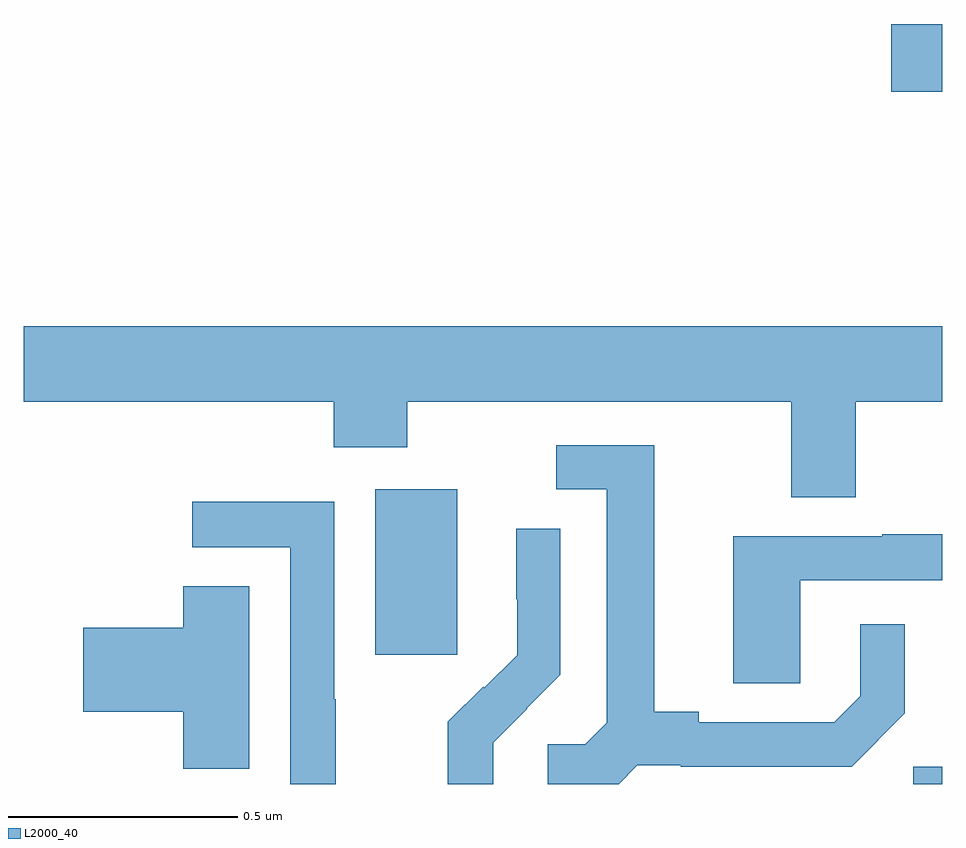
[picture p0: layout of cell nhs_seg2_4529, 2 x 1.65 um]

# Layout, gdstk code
import gdstk
lib = gdstk.Library(unit=1e-6, precision=1e-09)
def R(c, l, rs):  # rectangles x0, y0, x1, y1
    for r in rs: c.add(gdstk.rectangle(r[:2], r[2:], *l))
def P(c, l, *ps):  # polygons
    for p in ps: c.add(gdstk.Polygon(p, *l))
L2000_40 = (2000, 40)

nhs_seg2_4529 = lib.new_cell('nhs_seg2_4529')
R(nhs_seg2_4529, L2000_40, [(168.936,650.8,169,650.838), (167.765,651.081,167.944,651.442), (168.888,652.307,169,652.454)])
P(nhs_seg2_4529, L2000_40, [(168.811,651.632),(169,651.632),(169,651.796),(167,651.796),(167,651.632),(167.675,651.632),(167.675,651.533),(167.835,651.533),(167.835,651.632),(168.671,651.632),(168.671,651.424),(168.811,651.424)],
  [(168.336,650.841),(168.43,650.841),(168.43,650.838),(168.802,650.838),(168.918,650.954),(168.918,651.148),(168.821,651.148),(168.821,650.991),(168.764,650.934),(168.469,650.934),(168.469,650.957),(168.373,650.957),(168.373,651.537),(168.159,651.537),(168.159,651.441),(168.269,651.441),(168.269,650.933),(168.222,650.886),(168.141,650.886),(168.141,650.8),(168.295,650.8)],
  [(167.679,650.984),(167.676,650.984),(167.676,651.414),(167.367,651.414),(167.367,651.315),(167.58,651.315),(167.58,650.8),(167.679,650.8)],
  [(168.022,650.89),(168.096,650.964),(168.095,650.965),(168.168,651.038),(168.168,651.356),(168.072,651.356),(168.072,651.202),(168.074,651.202),(168.074,651.08),(168.003,651.009),(168,651.012),(167.923,650.935),(167.923,650.8),(168.022,650.8)],
  [(168.69,651.243),(169,651.243),(169,651.343),(168.869,651.343),(168.869,651.339),(168.545,651.339),(168.545,651.019),(168.69,651.019)],
  [(167.491,651.23),(167.348,651.23),(167.348,651.14),(167.13,651.14),(167.13,650.957),(167.348,650.957),(167.348,650.833),(167.491,650.833)])

lib.write_gds('nhs_seg2_4529.gds')
